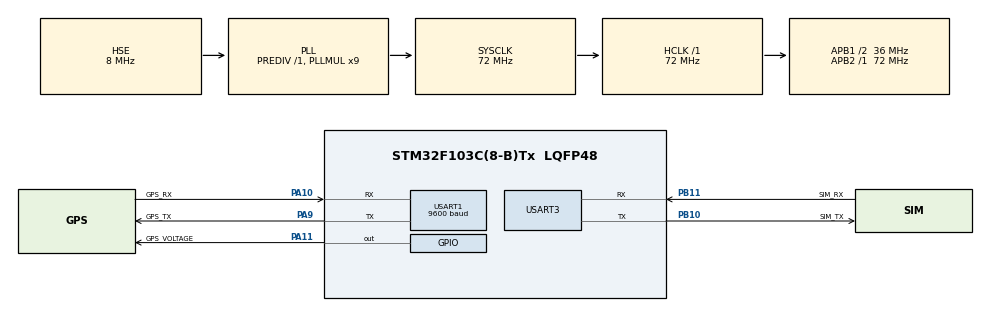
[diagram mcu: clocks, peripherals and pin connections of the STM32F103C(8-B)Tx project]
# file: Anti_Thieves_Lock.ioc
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Mcu.Family=STM32F1
RCC.PLLSourceVirtual=RCC_PLLSOURCE_HSE
PD1-OSC_OUT.Mode=HSE-External-Oscillator
PA10.Mode=Asynchronous
PB10.Mode=Asynchronous
USART1.BaudRate=9600
PA9.GPIO_Label=GPS_TX
PB11.GPIO_Label=SIM_RX
PA11.GPIO_Label=GPS_VOLTAGE
PD0-OSC_IN.Signal=RCC_OSC_IN
RCC.APB1CLKDivider=RCC_HCLK_DIV2
PB11.Signal=USART3_RX
RCC.SYSCLKSource=RCC_SYSCLKSOURCE_PLLCLK
ProjectManager.StackSize=0x400
PD1-OSC_OUT.Signal=RCC_OSC_OUT
PA13.Signal=SYS_JTMS-SWDIO
PA9.Mode=Asynchronous
PB11.Mode=Asynchronous
ProjectManager.TargetToolchain=STM32CubeIDE
PB10.GPIO_Label=SIM_TX
RCC.HCLKFreq_Value=72000000
RCC.APB2TimFreq_Value=72000000
PA9.Signal=USART1_TX
RCC.USBFreq_Value=72000000
RCC.AHBFreq_Value=72000000
PB10.Signal=USART3_TX
PD0-OSC_IN.Mode=HSE-External-Oscillator
board=custom
RCC.PLLMUL=RCC_PLL_MUL9
RCC.APB2Freq_Value=72000000
PA14.Mode=Serial_Wire
PA10.GPIO_Label=GPS_RX
PA13.Mode=Serial_Wire
Mcu.Name=STM32F103C(8-B)Tx
RCC.SYSCLKFreq_VALUE=72000000
Mcu.Package=LQFP48
USART3.VirtualMode=VM_ASYNC
USART1.VirtualMode=VM_ASYNC
PA11.Signal=GPIO_Output
PA10.Signal=USART1_RX
PA14.Signal=SYS_JTCK-SWCLK
ProjectManager.HeapSize=0x200
NVIC.PriorityGroup=NVIC_PRIORITYGROUP_4
RCC.APB1TimFreq_Value=72000000
NVIC.USART1_IRQn=true\:1\:0\:true\:false\:true\:true\:true
RCC.APB1Freq_Value=36000000

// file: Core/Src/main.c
/* USER CODE BEGIN Header */
/**
  ******************************************************************************
  * @file           : main.c
  * @brief          : Main program body
  ******************************************************************************
  * @attention
  *
  * <h2><center>&copy; Copyright (c) 2021 STMicroelectronics.
  * All rights reserved.</center></h2>
  *
  * This software component is licensed by ST under BSD 3-Clause license,
  * the "License"; You may not use this file except in compliance with the
  * License. You may obtain a copy of the License at:
  *                        opensource.org/licenses/BSD-3-Clause
  *
  ******************************************************************************
  */
/* USER CODE END Header */
#include "main.h"

/* USER CODE BEGIN Includes */
#include "ST47_Sim800.h"
#include "ST47_Neo6M.h"
/* USER CODE END Includes */

UART_HandleTypeDef huart1;
UART_HandleTypeDef huart3;

void SystemClock_Config(void);
static void MX_GPIO_Init(void);
static void MX_USART1_UART_Init(void);
static void MX_USART3_UART_Init(void);

/* USER CODE BEGIN 0 */
uint32_t time_get_gps = 0;
extern GPS_Struct gps;
bool flag = true;
char firebase_url[70] 	= "https://ggmaptest-304715-default-rtdb.firebaseio.com/";
char device_id[10] 		= "98N21033";
char user_id[30]		= "tungvoson98@gmail.com";

enum Lock_State
{
	GPS_MODE,			// Receiving gps coordinate
	CLIENT_MODE,		// Sending data to server
}lock_state;

void lock_enter_sleep_mode()
{
	HAL_SuspendTick();
	HAL_PWR_EnterSLEEPMode(PWR_MAINREGULATOR_ON, PWR_SLEEPENTRY_WFI);
	HAL_ResumeTick();
}

void HAL_UART_RxCpltCallback(UART_HandleTypeDef *huart)
{
	if(huart->Instance == USART1)
	{
		neo_callback();
		HAL_GPIO_TogglePin(LED_GPIO_Port, LED_Pin);
	}
}
/* USER CODE END 0 */

int main(void)
{

  /* MCU Configuration--------------------------------------------------------*/

  /* Reset of all peripherals, Initializes the Flash interface and the Systick. */
  HAL_Init();

  /* Configure the system clock */
  SystemClock_Config();

  /* Initialize all configured peripherals */
  MX_GPIO_Init();
  MX_USART1_UART_Init();
  MX_USART3_UART_Init();
  /* USER CODE BEGIN 2 */
  neo_init();
  simcom_init();
  lock_state = GPS_MODE;
  /* USER CODE END 2 */

  /* Infinite loop */
  while (1)
  {

    /* USER CODE BEGIN 3 */
	  switch(lock_state)
	  {
	  	  case	GPS_MODE:
	  		  if(gps.flag == true)
	  		  {
	  			  neo_gps_process_data(gps.buffer);
	  			  lock_state = CLIENT_MODE;
	  		  }
	  	  case	CLIENT_MODE:
	  		  firebase_update(firebase_url, device_id, user_id, neo_get_gps_latitude(), neo_get_gps_longitude());
	  		  lock_state = GPS_MODE;
	  }
//	  if(neo_gps_message_comleted() ==  true) lock_state = CLIENT_MODE;
//	  if(lock_state == CLIENT_MODE)
//	  {
//		  neo_gps_process_data(gps.buffer);
//		  firebase_update(firebase_url, device_id, user_id, data1, data2);
//		  data1 += 1.0000;
//		  data2 += 2.0000;
//		  lock_state = GPS_MODE;
//		  gps.flag = false;
//	  }
//	  if(lock_state == GPS_MODE)
//	  {
//		  lock_enter_sleep_mode();
//	  }
  }
  /* USER CODE END 3 */
}

void SystemClock_Config(void)
{
  RCC_OscInitTypeDef RCC_OscInitStruct = {0};
  RCC_ClkInitTypeDef RCC_ClkInitStruct = {0};

  /** Initializes the RCC Oscillators according to the specified parameters
  * in the RCC_OscInitTypeDef structure.
  */
  RCC_OscInitStruct.OscillatorType = RCC_OSCILLATORTYPE_HSE;
  RCC_OscInitStruct.HSEState = RCC_HSE_ON;
  RCC_OscInitStruct.HSEPredivValue = RCC_HSE_PREDIV_DIV1;
  RCC_OscInitStruct.HSIState = RCC_HSI_ON;
  RCC_OscInitStruct.PLL.PLLState = RCC_PLL_ON;
  RCC_OscInitStruct.PLL.PLLSource = RCC_PLLSOURCE_HSE;
  RCC_OscInitStruct.PLL.PLLMUL = RCC_PLL_MUL9;
  if (HAL_RCC_OscConfig(&RCC_OscInitStruct) != HAL_OK)
  {
    Error_Handler();
  }
  /** Initializes the CPU, AHB and APB buses clocks
  */
  RCC_ClkInitStruct.ClockType = RCC_CLOCKTYPE_HCLK|RCC_CLOCKTYPE_SYSCLK
                              |RCC_CLOCKTYPE_PCLK1|RCC_CLOCKTYPE_PCLK2;
  RCC_ClkInitStruct.SYSCLKSource = RCC_SYSCLKSOURCE_PLLCLK;
  RCC_ClkInitStruct.AHBCLKDivider = RCC_SYSCLK_DIV1;
  RCC_ClkInitStruct.APB1CLKDivider = RCC_HCLK_DIV2;
  RCC_ClkInitStruct.APB2CLKDivider = RCC_HCLK_DIV1;

  if (HAL_RCC_ClockConfig(&RCC_ClkInitStruct, FLASH_LATENCY_2) != HAL_OK)
  {
    Error_Handler();
  }
}

static void MX_USART1_UART_Init(void)
{

  huart1.Instance = USART1;
  huart1.Init.BaudRate = 9600;
  huart1.Init.WordLength = UART_WORDLENGTH_8B;
  huart1.Init.StopBits = UART_STOPBITS_1;
  huart1.Init.Parity = UART_PARITY_NONE;
  huart1.Init.Mode = UART_MODE_TX_RX;
  huart1.Init.HwFlowCtl = UART_HWCONTROL_NONE;
  huart1.Init.OverSampling = UART_OVERSAMPLING_16;
  if (HAL_UART_Init(&huart1) != HAL_OK)
  {
    Error_Handler();
  }

}

static void MX_USART3_UART_Init(void)
{

  huart3.Instance = USART3;
  huart3.Init.BaudRate = 115200;
  huart3.Init.WordLength = UART_WORDLENGTH_8B;
  huart3.Init.StopBits = UART_STOPBITS_1;
  huart3.Init.Parity = UART_PARITY_NONE;
  huart3.Init.Mode = UART_MODE_TX_RX;
  huart3.Init.HwFlowCtl = UART_HWCONTROL_NONE;
  huart3.Init.OverSampling = UART_OVERSAMPLING_16;
  if (HAL_UART_Init(&huart3) != HAL_OK)
  {
    Error_Handler();
  }

}

static void MX_GPIO_Init(void)
{
  GPIO_InitTypeDef GPIO_InitStruct = {0};

  /* GPIO Ports Clock Enable */
  __HAL_RCC_GPIOD_CLK_ENABLE();
  __HAL_RCC_GPIOB_CLK_ENABLE();
  __HAL_RCC_GPIOA_CLK_ENABLE();

  /*Configure GPIO pin Output Level */
  HAL_GPIO_WritePin(GPS_VOLTAGE_GPIO_Port, GPS_VOLTAGE_Pin, GPIO_PIN_RESET);

  /*Configure GPIO pin : GPS_VOLTAGE_Pin */
  GPIO_InitStruct.Pin = GPS_VOLTAGE_Pin;
  GPIO_InitStruct.Mode = GPIO_MODE_OUTPUT_PP;
  GPIO_InitStruct.Pull = GPIO_NOPULL;
  GPIO_InitStruct.Speed = GPIO_SPEED_FREQ_LOW;
  HAL_GPIO_Init(GPS_VOLTAGE_GPIO_Port, &GPIO_InitStruct);

}

void Error_Handler(void)
{
  __disable_irq();
  while (1)
  {
  }
}

/************************ (C) COPYRIGHT STMicroelectronics *****END OF FILE****/
